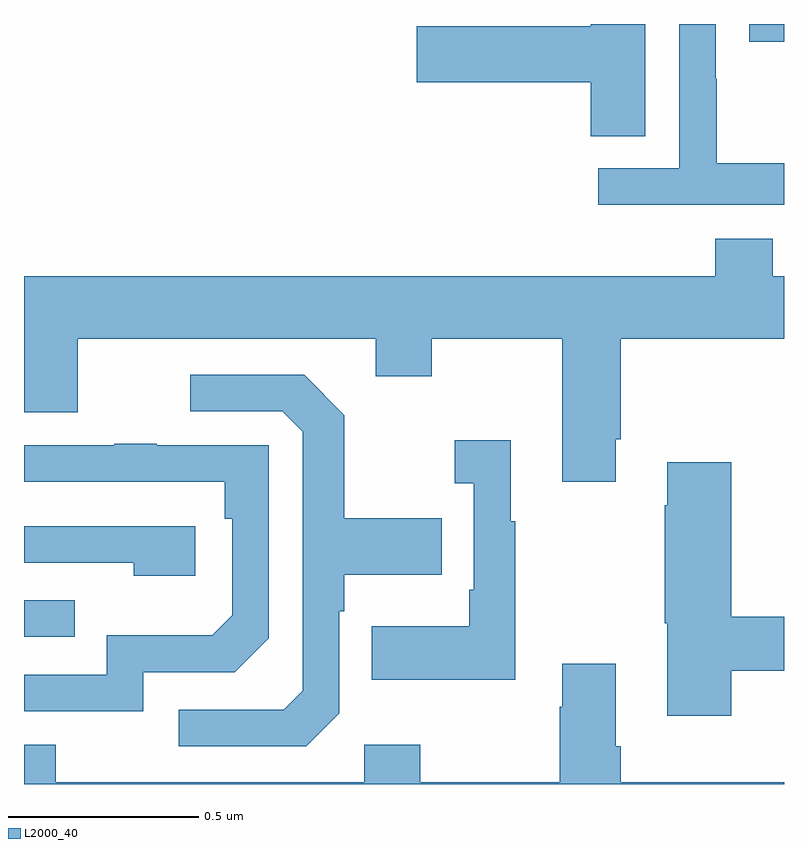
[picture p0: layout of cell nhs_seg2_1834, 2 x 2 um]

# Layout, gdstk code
import gdstk
lib = gdstk.Library(unit=1e-6, precision=1e-09)
def R(c, l, rs):  # rectangles x0, y0, x1, y1
    for r in rs: c.add(gdstk.rectangle(r[:2], r[2:], *l))
def P(c, l, *ps):  # polygons
    for p in ps: c.add(gdstk.Polygon(p, *l))
L2000_40 = (2000, 40)

nhs_seg2_1834 = lib.new_cell('nhs_seg2_1834')
R(nhs_seg2_1834, L2000_40, [(133,644.187,133.133,644.283), (134.909,645.753,135,645.8)])
P(nhs_seg2_1834, L2000_40, [(134.635,645.8),(134.492,645.8),(134.492,645.794),(134.034,645.794),(134.034,645.647),(134.492,645.647),(134.492,645.505),(134.635,645.505)],
  [(135,645.433),(134.823,645.433),(134.823,645.656),(134.82,645.656),(134.82,645.8),(134.724,645.8),(134.724,645.42),(134.511,645.42),(134.511,645.324),(135,645.324)],
  [(134.557,644.707),(134.57,644.707),(134.57,644.972),(135,644.972),(135,645.136),(134.971,645.136),(134.971,645.235),(134.819,645.235),(134.819,645.136),(133,645.136),(133,644.972),(133.001,644.972),(133.001,644.778),(133.141,644.778),(133.141,644.972),(133.925,644.972),(133.925,644.873),(134.073,644.873),(134.073,644.972),(134.417,644.972),(134.417,644.595),(134.557,644.595)],
  [(133.83,643.986),(133.83,644.255),(133.843,644.255),(133.843,644.351),(134.099,644.351),(134.099,644.499),(133.843,644.499),(133.843,644.771),(133.737,644.877),(133.437,644.877),(133.437,644.781),(133.68,644.781),(133.734,644.727),(133.734,644.046),(133.683,643.995),(133.407,643.995),(133.407,643.899),(133.743,643.899)],
  [(134.293,644.491),(134.281,644.491),(134.281,644.704),(134.133,644.704),(134.133,644.591),(134.184,644.591),(134.184,644.311),(134.172,644.311),(134.172,644.215),(133.915,644.215),(133.915,644.075),(134.293,644.075)],
  [(133.314,644.094),(133.554,644.094),(133.644,644.184),(133.644,644.691),(133.349,644.691),(133.349,644.696),(133.237,644.696),(133.237,644.691),(133,644.691),(133,644.595),(133.528,644.595),(133.528,644.498),(133.548,644.498),(133.548,644.244),(133.495,644.191),(133.218,644.191),(133.218,644.088),(133,644.088),(133,643.992),(133.314,643.992)],
  [(134.861,644.098),(135,644.098),(135,644.24),(134.861,644.24),(134.861,644.647),(134.693,644.647),(134.693,644.534),(134.686,644.534),(134.686,644.223),(134.693,644.223),(134.693,643.98),(134.861,643.98)],
  [(133.45,644.478),(133,644.478),(133,644.382),(133.289,644.382),(133.289,644.348),(133.45,644.348)],
  [(135,643.804),(134.57,643.804),(134.57,643.9),(134.557,643.9),(134.557,644.116),(134.417,644.116),(134.417,644.003),(134.41,644.003),(134.41,643.804),(134.043,643.804),(134.043,643.903),(133.896,643.903),(133.896,643.804),(133.083,643.804),(133.083,643.903),(133,643.903),(133,643.8),(135,643.8)])

lib.write_gds('nhs_seg2_1834.gds')
